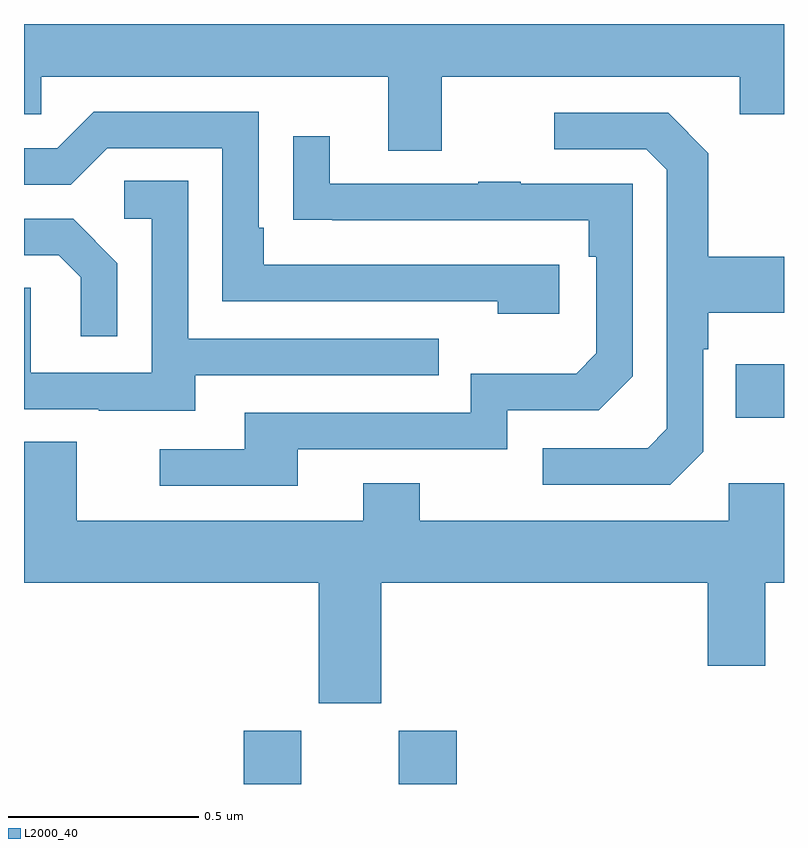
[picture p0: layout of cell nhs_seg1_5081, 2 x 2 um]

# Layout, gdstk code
import gdstk
lib = gdstk.Library(unit=1e-6, precision=1e-09)
def R(c, l, rs):  # rectangles x0, y0, x1, y1
    for r in rs: c.add(gdstk.rectangle(r[:2], r[2:], *l))
def P(c, l, *ps):  # polygons
    for p in ps: c.add(gdstk.Polygon(p, *l))
L2000_40 = (2000, 40)

nhs_seg1_5081 = lib.new_cell('nhs_seg1_5081')
R(nhs_seg1_5081, L2000_40, [(174.578,555.199,174.73,555.339), (174.986,555.199,175.139,555.339), (175.873,556.163,176,556.303)])
P(nhs_seg1_5081, L2000_40, [(175.099,557.06),(175.883,557.06),(175.883,556.961),(176,556.961),(176,557.199),(174,557.199),(174,556.962),(174.045,556.962),(174.045,557.06),(174.959,557.06),(174.959,556.866),(175.099,556.866)],
  [(175.408,556.566),(174.631,556.566),(174.631,556.663),(174.618,556.663),(174.618,556.968),(174.183,556.968),(174.087,556.872),(174,556.872),(174,556.776),(174.123,556.776),(174.219,556.872),(174.522,556.872),(174.522,556.47),(175.247,556.47),(175.247,556.436),(175.408,556.436)],
  [(175.788,556.074),(175.788,556.343),(175.801,556.343),(175.801,556.439),(176,556.439),(176,556.587),(175.801,556.587),(175.801,556.859),(175.695,556.965),(175.395,556.965),(175.395,556.869),(175.638,556.869),(175.692,556.815),(175.692,556.134),(175.641,556.083),(175.365,556.083),(175.365,555.987),(175.701,555.987)],
  [(174.721,556.08),(175.272,556.08),(175.272,556.182),(175.512,556.182),(175.602,556.272),(175.602,556.779),(175.307,556.779),(175.307,556.784),(175.195,556.784),(175.195,556.779),(174.805,556.779),(174.805,556.903),(174.709,556.903),(174.709,556.684),(174.811,556.684),(174.811,556.683),(175.486,556.683),(175.486,556.586),(175.506,556.586),(175.506,556.332),(175.453,556.279),(175.176,556.279),(175.176,556.176),(174.581,556.176),(174.581,556.08),(174.357,556.08),(174.357,555.984),(174.721,555.984)],
  [(174.451,556.275),(175.091,556.275),(175.091,556.371),(174.432,556.371),(174.432,556.787),(174.264,556.787),(174.264,556.686),(174.336,556.686),(174.336,556.281),(174.018,556.281),(174.018,556.505),(174,556.505),(174,556.185),(174.197,556.185),(174.197,556.181),(174.451,556.181)],
  [(174.246,556.57),(174.13,556.686),(174,556.686),(174,556.59),(174.092,556.59),(174.149,556.533),(174.149,556.377),(174.246,556.377)],
  [(174.94,555.728),(175.799,555.728),(175.799,555.51),(175.951,555.51),(175.951,555.728),(176,555.728),(176,555.991),(175.854,555.991),(175.854,555.892),(175.041,555.892),(175.041,555.991),(174.893,555.991),(174.893,555.892),(174.139,555.892),(174.139,556.1),(174,556.1),(174,555.728),(174.776,555.728),(174.776,555.411),(174.94,555.411)])

lib.write_gds('nhs_seg1_5081.gds')
